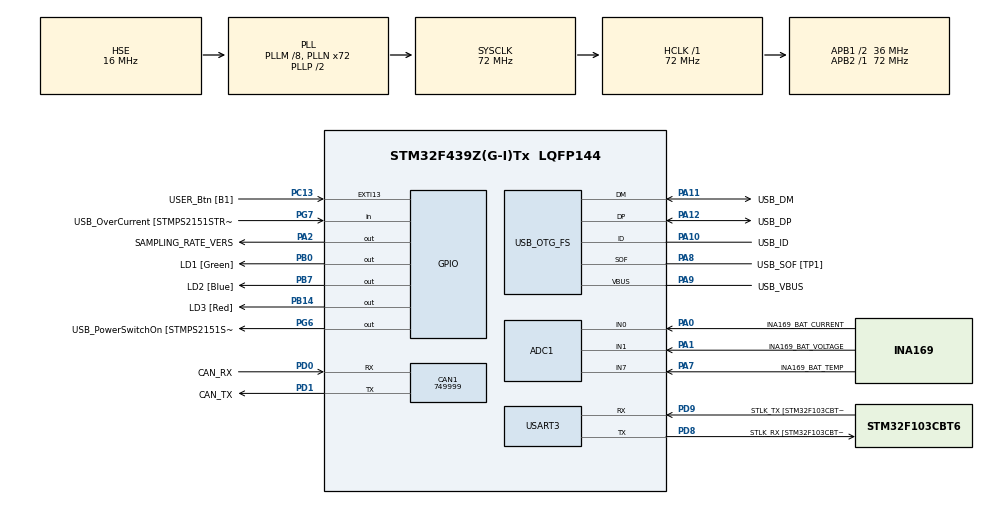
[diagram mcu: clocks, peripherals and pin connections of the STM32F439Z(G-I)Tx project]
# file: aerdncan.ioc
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ADC1.Channel-1\#ChannelRegularConversion=ADC_CHANNEL_VREFINT
ADC1.Channel-2\#ChannelRegularConversion=ADC_CHANNEL_TEMPSENSOR
ADC1.ExternalTrigConv=ADC_EXTERNALTRIGCONV_T3_TRGO
ADC1.NbrOfConversion=2
ADC1.NbrOfConversionFlag=1
ADC1.Rank-1\#ChannelRegularConversion=1
ADC1.Rank-2\#ChannelRegularConversion=2
ADC1.SamplingTime-1\#ChannelRegularConversion=ADC_SAMPLETIME_144CYCLES
ADC1.SamplingTime-2\#ChannelRegularConversion=ADC_SAMPLETIME_144CYCLES
ADC1.ScanConvMode=ENABLE
ADC1.master=1
CAN1.BS1=CAN_BS1_1TQ
CAN1.BS2=CAN_BS2_1TQ
CAN1.CalculateBaudRate=749999
CAN1.CalculateTimeBit=1333
CAN1.CalculateTimeQuantum=444.44444444444446
Dma.ADC1.0.Direction=DMA_PERIPH_TO_MEMORY
Dma.ADC1.0.FIFOMode=DMA_FIFOMODE_DISABLE
Dma.ADC1.0.Instance=DMA2_Stream0
Dma.ADC1.0.MemDataAlignment=DMA_MDATAALIGN_HALFWORD
Dma.ADC1.0.MemInc=DMA_MINC_ENABLE
Dma.ADC1.0.Mode=DMA_CIRCULAR
Dma.ADC1.0.PeriphDataAlignment=DMA_PDATAALIGN_HALFWORD
Dma.ADC1.0.PeriphInc=DMA_PINC_DISABLE
Dma.ADC1.0.Priority=DMA_PRIORITY_LOW
Dma.Request0=ADC1
Mcu.Family=STM32F4
Mcu.Name=STM32F439Z(G-I)Tx
Mcu.Package=LQFP144
NVIC.DMA2_Stream0_IRQn=true\:0\:0\:false\:false\:true\:false\:true\:true
NVIC.PriorityGroup=NVIC_PRIORITYGROUP_4
PA0/WKUP.GPIO_Label=INA169_BAT_CURRENT
PA0/WKUP.Signal=SharedAnalog_PA0
PA1.GPIO_Label=INA169_BAT_VOLTAGE
PA1.Signal=SharedAnalog_PA1
PA10.GPIO_Label=USB_ID
PA10.Mode=OTG/Dual_Role_Device
PA10.Signal=USB_OTG_FS_ID
PA11.GPIO_Label=USB_DM
PA11.Mode=OTG/Dual_Role_Device
PA11.Signal=USB_OTG_FS_DM
PA12.GPIO_Label=USB_DP
PA12.Mode=OTG/Dual_Role_Device
PA12.Signal=USB_OTG_FS_DP
PA13.GPIO_Label=TMS
PA13.Mode=Serial_Wire
PA13.Signal=SYS_JTMS-SWDIO
PA14.GPIO_Label=TCK
PA14.Mode=Serial_Wire
PA14.Signal=SYS_JTCK-SWCLK
PA2.GPIO_Label=SAMPLING_RATE_VERS
PA2.Signal=GPIO_Output
PA7.GPIO_Label=INA169_BAT_TEMP
PA7.Signal=SharedAnalog_PA7
PA8.GPIO_Label=USB_SOF [TP1]
PA8.Mode=Activate_SOF_FS
PA8.Signal=USB_OTG_FS_SOF
PA9.GPIO_Label=USB_VBUS
PA9.Mode=Activate_VBUS
PA9.Signal=USB_OTG_FS_VBUS
PB0.GPIO_Label=LD1 [Green]
PB0.Signal=GPIO_Output
PB14.GPIO_Label=LD3 [Red]
PB14.Signal=GPIO_Output
PB7.GPIO_Label=LD2 [Blue]
PB7.Signal=GPIO_Output
PC13.GPIO_Label=USER_Btn [B1]
PC13.Signal=GPXTI13
PC14/OSC32_IN.Mode=LSE-External-Oscillator
PC14/OSC32_IN.Signal=RCC_OSC32_IN
PC15/OSC32_OUT.Mode=LSE-External-Oscillator
PC15/OSC32_OUT.Signal=RCC_OSC32_OUT
PD0.GPIO_Label=CAN_RX
PD0.Mode=CAN_Activate
PD0.Signal=CAN1_RX
PD1.GPIO_Label=CAN_TX
PD1.Mode=CAN_Activate
PD1.Signal=CAN1_TX
PD8.GPIO_Label=STLK_RX [STM32F103CBT6_PA3]
PD8.Mode=Asynchronous
PD8.Signal=USART3_TX
PD9.GPIO_Label=STLK_TX [STM32F103CBT6_PA2]
PD9.Mode=Asynchronous
PD9.Signal=USART3_RX
PG6.GPIO_Label=USB_PowerSwitchOn [STMPS2151STR_EN]
PG6.Signal=GPIO_Output
PG7.GPIO_Label=USB_OverCurrent [STMPS2151STR_FAULT]
PG7.Signal=GPIO_Input
PH0/OSC_IN.GPIO_Label=MCO [STM32F103CBT6_PA8]
PH0/OSC_IN.Mode=HSE-External-Oscillator
PH0/OSC_IN.Signal=RCC_OSC_IN
PH1/OSC_OUT.Mode=HSE-External-Oscillator
PH1/OSC_OUT.Signal=RCC_OSC_OUT
ProjectManager.HeapSize=0x200
ProjectManager.StackSize=0x400
ProjectManager.TargetToolchain=CMake
RCC.48MHZClocksFreq_Value=48000000
RCC.AHBFreq_Value=72000000
RCC.APB1CLKDivider=RCC_HCLK_DIV2
RCC.APB1Freq_Value=36000000
RCC.APB1TimFreq_Value=72000000
RCC.APB2Freq_Value=72000000
RCC.APB2TimFreq_Value=72000000
RCC.CortexFreq_Value=72000000
RCC.HCLKFreq_Value=72000000
RCC.HSE_VALUE=16000000
RCC.HSI_VALUE=16000000
RCC.PLLM=8
RCC.PLLMUL=RCC_PLL_MUL9
RCC.PLLN=72
RCC.PLLQ=3
RCC.PRESCALERUSB=RCC_USBCLKSOURCE_PLL_DIV1_5
RCC.SYSCLKFreq_VALUE=72000000
RCC.SYSCLKSource=RCC_SYSCLKSOURCE_PLLCLK
RCC.SYSCLKSourceVirtual=RCC_SYSCLKSOURCE_PLLCLK
RCC.USBFreq_Value=48000000
RCC.VCOOutputFreq_Value=144000000
SH.SharedAnalog_PA0.0=GPIO_Analog
SH.SharedAnalog_PA0.1=ADC1_IN0,IN0
SH.SharedAnalog_PA1.0=GPIO_Analog
SH.SharedAnalog_PA1.1=ADC1_IN1,IN1
SH.SharedAnalog_PA7.0=GPIO_Analog
SH.SharedAnalog_PA7.1=ADC1_IN7,IN7
TIM3.AutoReloadPreload=TIM_AUTORELOAD_PRELOAD_ENABLE
TIM3.Period=62499
TIM3.Prescaler=2879
TIM3.TIM_MasterOutputTrigger=TIM_TRGO_UPDATE
USART3.VirtualMode=VM_ASYNC
VP_ADC1_TempSens_Input.Mode=IN-TempSens
VP_ADC1_Vref_Input.Mode=IN-Vrefint
VP_TIM3_VS_ClockSourceINT.Mode=Internal
board=NUCLEO-F439ZI

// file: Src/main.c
/* USER CODE BEGIN Header */
/**
  ******************************************************************************
  * @file           : main.c
  * @brief          : Main program body
  ******************************************************************************
  * @attention
  *
  * Copyright (c) 2026 STMicroelectronics.
  * All rights reserved.
  *
  * This software is licensed under terms that can be found in the LICENSE file
  * in the root directory of this software component.
  * If no LICENSE file comes with this software, it is provided AS-IS.
  *
  * @AUTHOR/REPO: github.com/WANDEX/aerdncan
  ******************************************************************************
  */
/* USER CODE END Header */
#include "main.h"
#include "adc.h"
#include "can.h"
#include "dma.h"
#include "tim.h"
#include "usart.h"
#include "gpio.h"

/* USER CODE BEGIN Includes */

#include <stdbool.h>
#include <stdint.h>
#include <stdio.h>              // fprintf
#include <string.h>

#include <canard_stm32.h>

#include "uavcan.equipment.power.BatteryInfo.h"
/* USER CODE END Includes */

/* USER CODE BEGIN PTD */

typedef struct {
  float Rl;           // Resistor Load       (Ohms)
  float Rs;           // Resistor Shunt      (Ohms)
  float Vref;         // Reference Voltage   (Volts)
  float V25;          // Voltage at 25°C     (Volts)
  float Avg_Slope;    // Average slope       (V/°C)
  int16_t PIN_Is;     // Input  Current pin
  int16_t PIN_Temp;   // Temperature pin
  int16_t PIN_Vout;   // Output Voltage pin
} ina169_c;           // constants

typedef struct {
  struct uavcan_equipment_power_BatteryInfo* const data;
  volatile ina169_c const* c; // constants
  uint8_t  buf[UAVCAN_EQUIPMENT_POWER_BATTERYINFO_MAX_SIZE];
  uint32_t buf_len;
} ina169_t; // self-contained ina169 data structure

/* USER CODE END PTD */

/* USER CODE BEGIN PD */

/**
 * @brief total count of batteries UAV has.
 *
 * @see batteries[AERDNCAN_BATTERY_CNT]
 */
#ifndef AERDNCAN_BATTERY_CNT
#define AERDNCAN_BATTERY_CNT 1
#endif//AERDNCAN_BATTERY_CNT

/**
 * @note max battery id is uint8_t -> 256 || 0x100!
 */
#ifndef AERDNCAN_BATTERY_ID_BASE
#define AERDNCAN_BATTERY_ID_BASE 0x10
#endif//AERDNCAN_BATTERY_ID_BASE

/**
 * @note max length is 31 chars!
 */
#ifndef AERDNCAN_BATTERY_MODEL_NAME
#define AERDNCAN_BATTERY_MODEL_NAME "Dummy Smart Battery v1.1 LiPo"
#endif//AERDNCAN_BATTERY_MODEL_NAME

/**
 * @see CAN1.CalculateBaudRate=875000 bit/s == (bps || bpc || Hz)
 * CAN is a serial bus, 1 bit per cycle processed by design => 1 bit/s == 1 Hz.
 */
#ifndef AERDNCAN_CAN1_TARGET_BITRATE
#define AERDNCAN_CAN1_TARGET_BITRATE 875000
#endif//AERDNCAN_CAN1_TARGET_BITRATE

/**
 * To get via ADC the raw digital step value [0..4095] 12-bit ADC.
 */
#ifndef AERDNCAN_ADC_MAX_VAL
#define AERDNCAN_ADC_MAX_VAL 4095 // ADC_RESOLUTION_12B
// #define AERDNCAN_ADC_MAX_VAL 1023 // ADC_RESOLUTION_10B
// #define AERDNCAN_ADC_MAX_VAL  255 // ADC_RESOLUTION_8B
// #define AERDNCAN_ADC_MAX_VAL   63 // ADC_RESOLUTION_6B
#endif//AERDNCAN_ADC_MAX_VAL

/* USER CODE END PD */

/* USER CODE BEGIN PV */

volatile uint8_t G_Main_Loop_Update_Event = 0;

/**
 * @brief constants (that may be different) between different batteries etc.
 *
 * @note consider NOT removing static + const, but making another/new instance.
 *
 * FIXME: .Rs is wrong? May currently be calculated improperly!
 *   provided parts of the scheme are hard to understand as one complete whole!
 */
static volatile ina169_c const G_ina169_c = {
  .Rl         = 27.4f * 1000, // *=1000 -> 27.4 (kOhms)
  .Rs         = 15.0f / 1000, // /=1000 -> 15.0 (mOhms)
  // .Rs         = 10.015f    //      -> 10.015 (kOhms) || FIXME: or ???
  .Vref       = 3.3f,  // (Volts)
  .V25        = 0.76f, // Voltage at 25°C (Volts)
  .Avg_Slope  = 2.5f / 1000,  // /=1000 ->  2.5 (mV/°C) Average slope (V/°C)
  .PIN_Is     = INA169_BAT_CURRENT_Pin,
  .PIN_Temp   = INA169_BAT_TEMP_Pin,
  .PIN_Vout   = INA169_BAT_VOLTAGE_Pin,
};

/* USER CODE END PV */

void SystemClock_Config(void);

/* USER CODE BEGIN 0 */

/**
 * @brief Missing implementation of usleep for the bare-metal target.
 *
 * Fixes linking error / missing implementation of usleep().
 * canard_stm32.c:139:(.text.waitMSRINAKBitStateChange+0x34):
 * undefined reference to usleep.
 */
int usleep(int usec) {
    if (usec == 0) return 0;
    int ms = usec / 1000; // convert microseconds to milliseconds
    if (ms == 0) ms = 1;  // minimum delay of 1ms
    HAL_Delay(ms);
    return 0;
}

/**
 * @brief Initializes the CAN controller at the specified bit rate.
 *
 * @retval      0               Success
 * @retval      negative        Error
 */
int16_t canard_init(void)
{
  static char const* const fn  = "canard_init()";
  static char const* const fni = "canardSTM32Init()";
  static char const* const fnt = "canardSTM32ComputeCANTimings()";
  int16_t stat = -1; // error
  /// @see RM0090 - 32.7.7 Bit timing
  CanardSTM32CANTimings timings = {
    .bit_rate_prescaler = hcan1.Init.Prescaler, // [1, 1024]
    .bit_segment_1      = hcan1.Init.TimeSeg1,  // [1, 16]
    .bit_segment_2      = hcan1.Init.TimeSeg2,  // [1, 8]
    .max_resynchronization_jump_width = 1       // [1, 4] (1 is recommended)
  };
#if 1 // try to compute timings automatically
  uint32_t const peripheral_clock_rate = HAL_RCC_GetPCLK1Freq();
  stat = canardSTM32ComputeCANTimings(peripheral_clock_rate,
         AERDNCAN_CAN1_TARGET_BITRATE, &timings);
  if (stat < 0) { // error
    fprintf(stderr, "%s ERROR: %s -> %d\n", fn, fnt, stat);
    return stat;
  }
#endif
  /// automatic TX abort on error should be used - dynamic node ID allocation.
  stat = canardSTM32Init(&timings, CanardSTM32IfaceModeAutomaticTxAbortOnError);
  if (stat < 0) { // error
    /// The clock of the CAN module must be enabled
    /// If CAN2 is used, CAN1 must be also enabled!
    fprintf(stderr, "%s ERROR: %s -> %d\n", fn, fni, stat);
    return stat;
  }
  return 0;
}

/**
 * @note avoid re-assigning previously initialized unique fields, such as:
 *   .battery_id, .model_instance_id, .model_name, etc.
 *
 * @retval      0               Success
 */
static uint16_t canard_fill_battery_info_pre(ina169_t *battery)
{
  for (uint8_t i = 0; i < AERDNCAN_BATTERY_CNT; ++i) {
    // memset(battery[i].data, 0, sizeof(*battery[i].data));
    /// fill battery identification
    battery[i].data->battery_id        = AERDNCAN_BATTERY_ID_BASE + i;
    battery[i].data->model_instance_id = AERDNCAN_BATTERY_ID_BASE;
    battery[i].data->model_name.len = strlen(AERDNCAN_BATTERY_MODEL_NAME);
    /// copy battery model name
    strncpy((char*)battery[i].data->model_name.data, AERDNCAN_BATTERY_MODEL_NAME,
            sizeof(battery[i].data->model_name.data));
    battery[i].c = &G_ina169_c; // constants
#if 1 // dbg info
    fprintf(stderr,
        "battery[%d] = {\n"
        "  .battery_id = %d,\n"
        "  .model_instance_id = %lu,\n"
        "  .model_name.data[%d] = \"%s\",\n"
        "}\n",
        i,
        battery[i].data->battery_id,
        battery[i].data->model_instance_id,
        battery[i].data->model_name.len, battery[i].data->model_name.data
    );
#endif
  }
  return 0;
}

/**
 * @see RM0090 - 13.10 Temperature sensor
 * @see RM0090 - 13.11 Battery charge monitoring
 *   Main features
 *     Supported temperature range: –40 to 125 C
 *     Precision: +-1.5 C
 * @see DS9484 - 6.3.22 Temperature sensor characteristics
 *
 * VSENSE is input
 *
 * For stm32f4, the formula is typically:
 * Temperature (°C) = ((VSENSE - V25) / Avg_Slope) + 25
 *
 * VSENSE is the voltage read from the temperature sensor (via ADC)
 * V25 is the voltage at 25°C (from datasheet)
 * Avg_Slope is the average slope (from datasheet)
 *
 * TODO: consider calculate/report approximate/critical working conditions:
 *   6.4 Thermal Information & 6.5 Electrical Characteristics.
 *
 * @retval      0               Success
 */
static uint16_t canard_ADC_temp(ina169_t *battery)
{
  ADC_ChannelConfTypeDef sConfig = {0};
  /// get/calculate battery temperature - 16 stm32f4 temperature sensor
  sConfig.Channel = ADC_CHANNEL_16; HAL_ADC_ConfigChannel(&hadc1, &sConfig);
  HAL_ADC_Start(&hadc1); // start the ADC conversion
  if (HAL_ADC_PollForConversion(&hadc1, 10 /* ms timeout */) == HAL_OK) {
    uint32_t rds = HAL_ADC_GetValue(&hadc1); // raw digital steps for conversion
    battery->data->temperature =
      (((float)rds - battery->c->V25) / battery->c->Avg_Slope) + 25;
  }
  HAL_ADC_Stop(&hadc1); // stop the ADC conversion to save power
  return 0;
}

/**
 * @brief Taking ina169 pin data, fill: temperature, voltage, current.
 *
 * ina169 datasheet orig formulas:
 *   Vout =  Is * Rs * Rl * gm -- (orig formula)
 *
 * Application Information & Operation (formulas):
 *   Is -- load current || Vs -- Voltage supply || Rs -- Resistor shunt
 *   Vs = Vin = Vin+ - Vin- = Is * Rs -- input Voltage
 *   gm   = Io / Vin = 1000_mA / Vin -- transconductance
 *   Io   = gm * Vin -- output current
 *   Vout = Io * Rl  -- output Voltage
 *
 *   RG1 = RG2 = 1000_Ohms -- ina169 internal Resistors before Rs shunt
 *   Is = (Vout * RG1) / (Rs * Rl)
 *
 * poll & ADC start & stop are horrible combination, TODO: use DMA without poll.
 *
 * @retval      0     Success
 */
static int16_t canard_ina169_data(ina169_t *battery)
{
  static char const* const fn  = "canard_ina169_data()";
  static char const* const fnt = "canard_ADC_temp()";
  int16_t stat = -1; // error
  /// tell the ADC which internal channel to connect to the converter.
  ADC_ChannelConfTypeDef sConfig = {0};
  /// easy to store & pass data about individual battery unit as args etc.
  battery->data->current      = 0.f; // Is   (Amps)
  battery->data->temperature  = 0.f; //      (Celsius)
  battery->data->voltage      = 0.f; // Vout (Volts)
  /// @note pre-configured in stm/Src/adc.c MX_ADC1_Init && HAL_ADC_MspInit
  sConfig.Channel = ADC_CHANNEL_1; HAL_ADC_ConfigChannel(&hadc1, &sConfig);
  HAL_ADC_Start(&hadc1);
  if (HAL_ADC_PollForConversion(&hadc1, 10 /* ms timeout */) == HAL_OK) {
    uint32_t rds = HAL_ADC_GetValue(&hadc1); // raw digital steps for conversion
    battery->data->voltage =
      (float)rds * battery->c->Vref / AERDNCAN_ADC_MAX_VAL;
  }
  HAL_ADC_Stop(&hadc1);
  // TODO: consider 8.2.3 Offsetting the Output Voltage if needed.
  battery->data->current =
    (battery->data->voltage * 1000) / (battery->c->Rs * battery->c->Rl);
  stat = canard_ADC_temp(battery);
  if (stat != 0) {
    fprintf(stderr, "%s ERROR: %s -> %d\n", fn, fnt, stat);
    return stat;
  }
  return 0;
}

/**
 * @brief Pushes one frame into the TX buffer, if there is space.
 *
 * @retval      0                       Error
 * @retval      battery data length     Success
 */
static uint32_t canard_fill_battery_info(ina169_t *battery)
{
  if (!canard_ina169_data(battery)) {
    return 0; // fail
  }
  battery->data->average_power_10sec       = 0.f; // float
  battery->data->remaining_capacity_wh     = 0.f; // float
  battery->data->full_charge_capacity_wh   = 0.f; // float
  battery->data->hours_to_full_charge      = 0.f; // float
  battery->data->status_flags              = 0;   // uint16_t
  battery->data->state_of_health_pct       = 0;   // uint8_t
  battery->data->state_of_charge_pct       = 0;   // uint8_t
  battery->data->state_of_charge_pct_stdev = 0;   // uint8_t
  return uavcan_equipment_power_BatteryInfo_encode(
      battery->data,
      battery->buf, true
  );
}

/**
 * @brief Pushes one frame into the TX buffer, if there is space.
 *
 * @retval      0               Success
 * @retval      negative        Error
 */
int16_t canard_send_battery_info(ina169_t *battery)
{
  static char const* const fn  = "canard_send_battery_info()";
  static char const* const fnt = "canardSTM32Transmit()";
  int16_t stat = -1; // error
  /// fill battery_data - CANARD_ENABLE_CANFD required to fit in single frame!
  battery->buf_len = canard_fill_battery_info(battery);
  CanardCANFrame* const frame = { };
  frame->id = 0;
  frame->data_len = battery->buf_len;
  frame->iface_id = 0;
  memcpy(frame->data, battery->buf, battery->buf_len);
  /// CAN send battery info, making sure that it fits in into a single frame!
  stat = canardSTM32Transmit(frame);
  if (stat < 0) { // error
    fprintf(stderr, "%s ERROR: %s -> %d\n", fn, fnt, stat);
    return stat;
  }
  if (stat != 1) { // error
    fprintf(stderr, "%s ERROR: %s No space in the buffer!\n", fn, fnt);
    return stat * -1;
  }
  return 0;
}

/* USER CODE END 0 */

int main(void)
{

  /* MCU Configuration--------------------------------------------------------*/

  /* Reset of all peripherals, Initializes the Flash interface and the Systick. */
  HAL_Init();

  /* Configure the system clock */
  SystemClock_Config();

  /* Initialize all configured peripherals */
  MX_GPIO_Init();
  MX_DMA_Init();
  MX_USART3_UART_Init();
  MX_CAN1_Init();
  MX_ADC1_Init();
  MX_TIM3_Init();
  /* USER CODE BEGIN 2 */

  // TODO: use DMA & interrupts based G_Main_Loop_Update_Event
  //   instead of poll & HAL_Delay() which gives less accurate results.

  // int32_t adc_buf[3];
  /// start Timer3 (Trigger Source For ADC1)
  // HAL_TIM_Base_Start(&htim3);
  // HAL_ADCEx_Calibration_Start(&hadc1);
  // HAL_ADC_Start_DMA(&hadc1, (uint32_t*)adc_buf, 3); // start ADC conversion

  int16_t stat = -1; // error
  stat = canard_init();
  if (!stat) goto init_fail;
  fprintf(stderr, "[ OK ] init done\n");

  ina169_t battery[AERDNCAN_BATTERY_CNT];
  stat = canard_fill_battery_info_pre(battery);
  if (!stat) goto init_fail;
  fprintf(stderr, "[ OK ] batteries info pre-fill done\n");

  /* USER CODE END 2 */

  /* Infinite loop */
  while (1) {

    /* USER CODE BEGIN 3 */
#if 0 // use DMA & interrupts
    if (G_Main_Loop_Update_Event) {
      for (uint8_t i = 0; i < AERDNCAN_BATTERY_CNT; ++i) {
        canard_send_battery_info(&battery[i]);
      }
      G_Main_Loop_Update_Event = 0;
    }
#else
    for (uint8_t i = 0; i < AERDNCAN_BATTERY_CNT; ++i) {
      canard_send_battery_info(&battery[i]);
      HAL_Delay(1000); // wait 1000ms = 1sec
    }
#endif
  }
  return 0;
init_fail:
  fprintf(stderr, "[FAIL] init fail -> %d\n", stat);
  /// additional cleanup if needed.
  HAL_ADC_Stop_DMA(&hadc1);
  return stat;
  /* USER CODE END 3 */
}

void SystemClock_Config(void)
{
  RCC_OscInitTypeDef RCC_OscInitStruct = {0};
  RCC_ClkInitTypeDef RCC_ClkInitStruct = {0};

  /** Configure the main internal regulator output voltage
  */
  __HAL_RCC_PWR_CLK_ENABLE();
  __HAL_PWR_VOLTAGESCALING_CONFIG(PWR_REGULATOR_VOLTAGE_SCALE3);

  /** Initializes the RCC Oscillators according to the specified parameters
  * in the RCC_OscInitTypeDef structure.
  */
  RCC_OscInitStruct.OscillatorType = RCC_OSCILLATORTYPE_HSE;
  RCC_OscInitStruct.HSEState = RCC_HSE_ON;
  RCC_OscInitStruct.PLL.PLLState = RCC_PLL_ON;
  RCC_OscInitStruct.PLL.PLLSource = RCC_PLLSOURCE_HSE;
  RCC_OscInitStruct.PLL.PLLM = 8;
  RCC_OscInitStruct.PLL.PLLN = 72;
  RCC_OscInitStruct.PLL.PLLP = RCC_PLLP_DIV2;
  RCC_OscInitStruct.PLL.PLLQ = 3;
  if (HAL_RCC_OscConfig(&RCC_OscInitStruct) != HAL_OK)
  {
    Error_Handler();
  }

  /** Initializes the CPU, AHB and APB buses clocks
  */
  RCC_ClkInitStruct.ClockType = RCC_CLOCKTYPE_HCLK|RCC_CLOCKTYPE_SYSCLK
                              |RCC_CLOCKTYPE_PCLK1|RCC_CLOCKTYPE_PCLK2;
  RCC_ClkInitStruct.SYSCLKSource = RCC_SYSCLKSOURCE_PLLCLK;
  RCC_ClkInitStruct.AHBCLKDivider = RCC_SYSCLK_DIV1;
  RCC_ClkInitStruct.APB1CLKDivider = RCC_HCLK_DIV2;
  RCC_ClkInitStruct.APB2CLKDivider = RCC_HCLK_DIV1;

  if (HAL_RCC_ClockConfig(&RCC_ClkInitStruct, FLASH_LATENCY_2) != HAL_OK)
  {
    Error_Handler();
  }
}

/* USER CODE BEGIN 4 */

/**
 * @brief update event within specific time gap without additional delay.
 *
 * How to configure CLK etc.
 *   @see https://deepbluembedded.com/stm32-internal-temperature-sensor-reading-example/
 *
 * Instead of using sleep which adds additional delay time between executions.
 *   HAL_Delay(1000); // wait 1000ms = 1sec
 *
 * stm32 Timer Calculator
 *   @see https://deepbluembedded.com/stm32-timer-calculator/
 */
void HAL_ADC_ConvCpltCallback(ADC_HandleTypeDef* hadc)
{
    /// toggle Interrupt Rate Indicator Pin
    HAL_GPIO_TogglePin(GPIOA, SAMPLING_RATE_VERS_Pin);
    G_Main_Loop_Update_Event = 1;
}

/* USER CODE END 4 */

void Error_Handler(void)
{
  __disable_irq();
  while (1)
  {
  }
}
